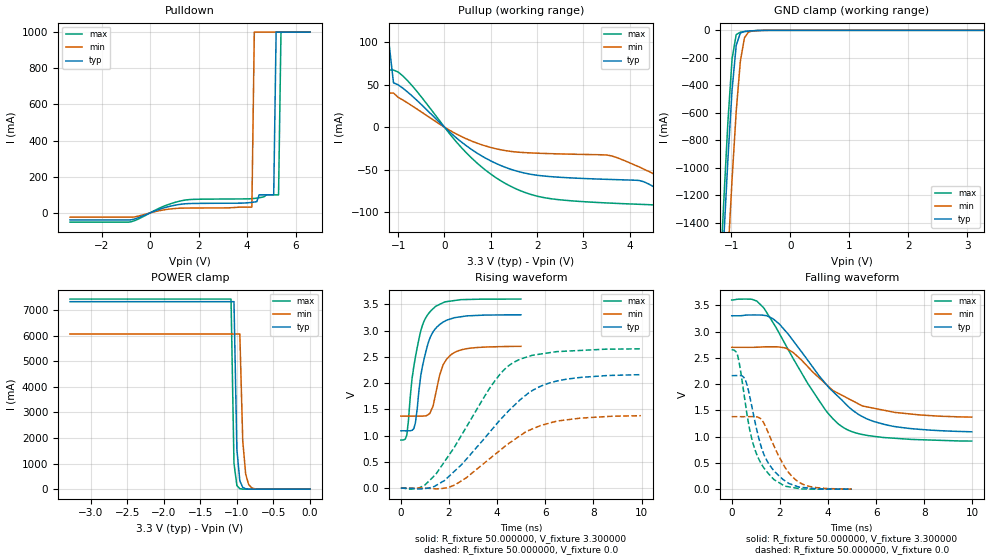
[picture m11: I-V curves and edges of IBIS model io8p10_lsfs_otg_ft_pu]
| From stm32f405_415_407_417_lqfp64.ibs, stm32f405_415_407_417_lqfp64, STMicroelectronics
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|   Model io8p10_lsfs_otg_ft_pu
[Model]  io8p10_lsfs_otg_ft_pu
Model_type I/O
Polarity   Non-Inverting
Enable   Active-Low
Vinl =   0.990000V
Vinh =   2.310000V
Vmeas =  1.650000V
Cref =   40.000000pF
Rref =   100.000000M
Vref =   0.0V
C_comp   8.196500pF   7.968500pF   8.492600pF
[Temperature Range]   25.000000   0.125000k   -40.000000
[Pullup Reference]   3.300000V   2.700000V   3.600000V
[Pulldown Reference]   0.0V   0.0V   0.0V
[POWER Clamp Reference]   3.300000V   2.700000V   3.600000V
[GND Clamp Reference]   0.0V   0.0V   0.0V
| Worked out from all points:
|   slope of the pulldown table from 0 to 0.495 V, typ, clamps not added: 20.1 ohm
|   slope of the pullup table from 0 to 0.495 V, typ, clamps not added: 21.8 ohm
|   GND clamp passes 1 mA (typ) near -0.52 V on its own axis
|   POWER clamp passes 1 mA (typ) near -0.80 V on its own axis
|   rising waveform, R_fixture 50.000000, V_fixture 3.300000: 20-80 % time 526ps typ, 499ps min, 529ps max; typ from 1.09 V to 3.3 V
|   rising waveform, R_fixture 50.000000, V_fixture 0.0: 20-80 % time 2.59ns typ, 2.41ns min, 2.19ns max; typ from 0.001 V to 2.16 V
|   falling waveform, R_fixture 50.000000, V_fixture 3.300000: 20-80 % time 2.44ns typ, 2.26ns min, 2.13ns max; typ from 3.3 V to 1.09 V
|   falling waveform, R_fixture 50.000000, V_fixture 0.0: 20-80 % time 849ps typ, 952ps min, 758ps max; typ from 2.16 V to 0.001 V
[Pulldown]
|Voltage   I(typ)   I(min)   I(max)
-3.3V     -38.65mA   -23.43mA   -51.3mA
-900mV    -38.65mA   -23.43mA   -51.3mA
1.4V      49.88mA    26.66mA    69.84mA
4.2V      58.43mA    32mA       78.86mA
4.3V      60.2mA     1A         80.13mA
4.4V      62mA       1A         81.72mA
4.5V      100mA      1A         83.79mA
5.1V      100mA      1A         100mA
5.2V      1A         1A         100mA
5.3V      1A         1A         100mA
5.4V      1A         1A         1A
6.6V      1A         1A         1A
[Pullup]
|Voltage   I(typ)   I(min)   I(max)
-3.3V     100mA      1A         67mA
-1.6V     100mA      1A         67mA
-1.5V     100mA      40mA       67mA
-1.2V     100mA      40mA       67mA
-1.1V     52mA       40mA       67mA
800mV     -33.66mA   -20.62mA   -46.63mA
2V        -56.45mA   -30.57mA   -80.98mA
3.5V      -61.24mA   -32.7mA    -88.93mA
4.2V      -62.55mA   -46.6mA    -90.52mA
4.9V      -82mA      -66mA      -102.3mA
5.5V      -103mA     -66mA      -126.2mA
6.6V      -103mA     -66mA      -139mA
[GND_clamp]
|Voltage   I(typ)   I(min)   I(max)
-3.3V     -9.479A    -9.465A    -9.974A
-1.2V     -2.125A    -2.854A    -1.857A
-1.13V    -1.511A    -2.236A    -1.236A
-1.06V    -933.3mA   -1.641A    -660.9mA
-990mV    -433.3mA   -1.082A    -206.9mA
-920mV    -110.3mA   -591mA     -31.45mA
-850mV    -19.78mA   -226.7mA   -13.65mA
-780mV    -8.311mA   -53.93mA   -9.506mA
-710mV    -5.285mA   -11.94mA   -6.262mA
-640mV    -3.232mA   -4.282mA   -3.577mA
3.28V     0A         0A         0A
[POWER_clamp]
|Voltage   I(typ)   I(min)   I(max)
-3.28V    7.329A     6.064A     7.43A
-1.08V    7.329A     6.064A     7.43A
-1.04V    7.329A     6.064A     1.015A
-1V       1.545A     6.064A     138.8mA
-960mV    325.8mA    6.064A     19.13mA
-920mV    68.77mA    1.89A      2.772mA
-880mV    14.59mA    589.1mA    520.3uA
-840mV    3.154mA    183.6mA    196.4uA
-800mV    734.4uA    57.27mA    136.6uA
-720mV    96.98uA    5.605mA    116.7uA
0V        0A         0A         0A
[Ramp]
| variable   typ   min   max
dV/dt_r  1.28451/2.59000n   0.82114/2.39692n   1.58763/2.18976n
dV/dt_f  1.29996/2.41613n   0.78216/2.23662n   1.59709/2.12461n
R_load = 50.000000
[Rising Waveform]
R_fixture= 50.000000
V_fixture= 3.300000
V_fixture_min= 2.700000
V_fixture_max= 3.600000
|time   V(typ)   V(min)   V(max)
0s        1.092V     1.372V     915.8mV
250.2ps   1.092V     1.372V     1.026V
460.5ps   1.1V       1.372V     2.071V
540.5ps   1.14V      1.372V     2.323V
610.6ps   1.262V     1.372V     2.511V
890.9ps   2.306V     1.372V     3.093V
1.251ns   2.902V     1.474V     3.38V
1.752ns   3.161V     2.343V     3.53V
2.142ns   3.234V     2.56V      3.567V
4.985ns   3.3V       2.7V       3.6V
[Rising Waveform]
R_fixture= 50.000000
V_fixture= 0.0
V_fixture_min= 0.0
V_fixture_max= 0.0
|time   V(typ)   V(min)   V(max)
0s        1.084mV    1.041mV    1.065mV
760.8ps   -15.37mV   1.053mV    5.82mV
1.441ns   47.59mV    -11.43mV   259.2mV
2.242ns   330mV      61.26mV    795.7mV
3.704ns   1.074V     566.8mV    1.913V
4.224ns   1.349V     760.4mV    2.224V
4.705ns   1.574V     921.8mV    2.4V
5.526ns   1.877V     1.14V      2.534V
6.466ns   2.038V     1.276V     2.599V
9.97ns    2.161V     1.38V      2.653V
[Falling Waveform]
R_fixture= 50.000000
V_fixture= 3.300000
V_fixture_min= 2.700000
V_fixture_max= 3.600000
|time   V(typ)   V(min)   V(max)
0s        3.3V       2.7V       3.6V
840.8ps   3.315V     2.7V       3.614V
1.341ns   3.308V     2.709V     3.444V
1.962ns   3.15V      2.706V     2.977V
2.543ns   2.833V     2.605V     2.495V
3.904ns   2.007V     2.004V     1.502V
4.625ns   1.673V     1.777V     1.177V
5.325ns   1.407V     1.609V     1.051V
6.346ns   1.232V     1.501V     982.7mV
9.97ns    1.092V     1.372V     915.8mV
[Falling Waveform]
R_fixture= 50.000000
V_fixture= 0.0
V_fixture_min= 0.0
V_fixture_max= 0.0
|time   V(typ)   V(min)   V(max)
0s        2.161V     1.38V      2.653V
250.2ps   2.163V     1.38V      2.536V
580.6ps   2.064V     1.38V      1.593V
750.8ps   1.764V     1.381V     1.122V
961ps     1.298V     1.38V      759.4mV
1.231ns   797.2mV    1.326V     481.7mV
1.522ns   497.7mV    1.07V      298.2mV
2.192ns   166.5mV    430.1mV    62.07mV
2.763ns   45.77mV    142.6mV    14.12mV
4.985ns   1.084mV    1.041mV    1.065mV
